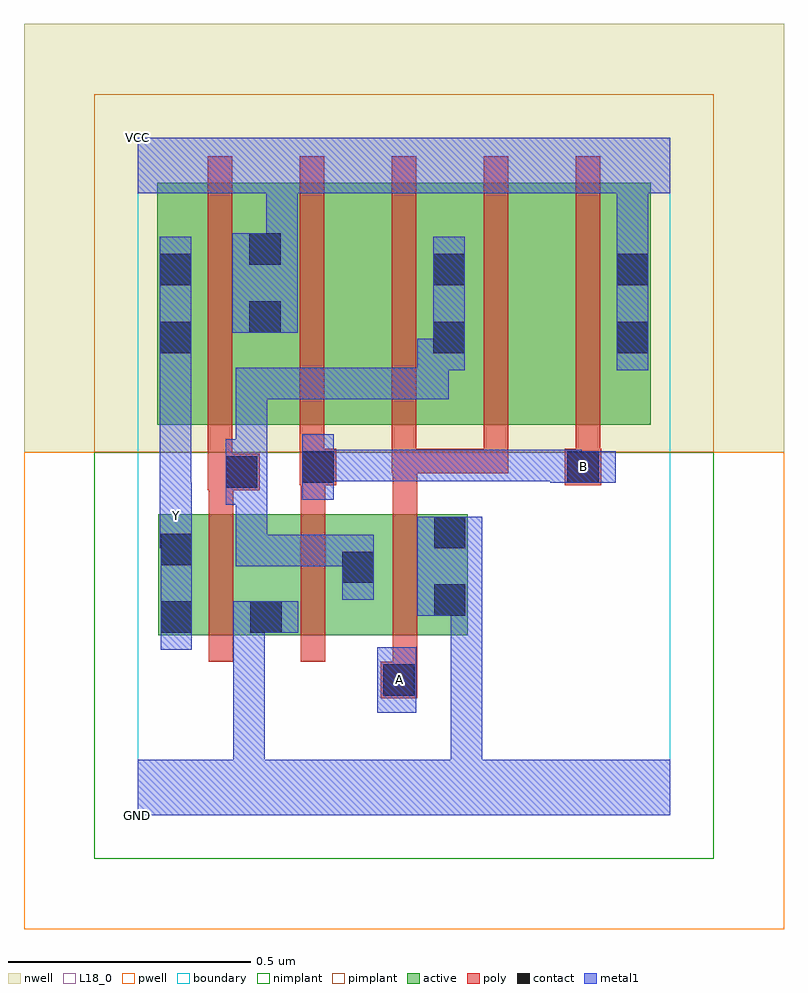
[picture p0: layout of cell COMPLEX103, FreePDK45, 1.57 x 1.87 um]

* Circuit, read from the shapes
.subckt COMPLEX103 A B GND VCC Y
M1 GND n1 Y VSUBS nfet w=0.25u l=0.05u
M2 n1 B GND VSUBS nfet w=0.25u l=0.05u
M3 GND A n1 VSUBS nfet w=0.25u l=0.05u
M4 VCC n1 Y n2 pfet w=0.5u l=0.05u
M5 n3 B VCC n2 pfet w=0.5u l=0.05u
M6 n1 A n3 n2 pfet w=0.5u l=0.05u
M7 n4 A n1 n2 pfet w=0.5u l=0.05u
M8 VCC B n4 n2 pfet w=0.5u l=0.05u
.ends

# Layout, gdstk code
import gdstk
lib = gdstk.Library(unit=1e-6, precision=1e-09)
def R(c, l, rs):  # rectangles x0, y0, x1, y1
    for r in rs: c.add(gdstk.rectangle(r[:2], r[2:], *l))
def A(c, l, x, y, w, h, nx, ny, dx, dy):  # array of equal rectangles
    R(c, l, [(x+i*dx, y+j*dy, x+i*dx+w, y+j*dy+h) for i in range(nx) for j in range(ny)])
active = (1, 0)
pwell = (2, 0)
nwell = (3, 0)
nimplant = (4, 0)
pimplant = (5, 0)
poly = (9, 0)
contact = (10, 0)
metal1 = (11, 0)
L18_0 = (18, 0)
boundary = (235, 0)

complex103 = lib.new_cell('COMPLEX103')
R(complex103, active, [(0.042,0.372,0.117,0.622), (0.042,0.372,0.302,0.622), (0.227,0.372,0.492,0.622), (0.227,0.372,0.302,0.497), (0.417,0.372,0.492,0.622), (0.417,0.372,0.682,0.622), (0.607,0.372,0.682,0.622), (0.04,0.807,0.115,1.2), (0.04,0.807,0.3,1.307), (0.225,0.807,0.3,1.305), (0.225,0.807,0.455,1.307), (0.455,0.807,0.68,1.307), (0.605,0.807,0.835,1.307), (0.605,0.807,0.68,1.2), (0.835,0.807,1.06,1.307), (0.985,0.807,1.06,1.305)])
R(complex103, pwell, [(-0.235,-0.235,1.335,0.75)])
R(complex103, nwell, [(-0.235,0.75,1.335,1.635)])
R(complex103, nimplant, [(-0.09,-0.09,1.19,0.75)])
R(complex103, pimplant, [(-0.09,0.75,1.19,1.49)])
A(complex103, poly, 0.147, 0.317, 0.05, 0.36, 3, 1, 0.19, 0)
A(complex103, poly, 0.335, 0.707, 0.05, 0.095, 4, 1, 0.19, 0)
A(complex103, poly, 0.145, 0.752, 0.05, 0.61, 5, 1, 0.19, 0)
R(complex103, poly, [(0.502,0.242,0.577,0.317), (0.527,0.267,0.577,0.367), (0.147,0.627,0.197,0.722), (0.337,0.627,0.387,0.732), (0.527,0.627,0.577,0.757), (0.145,0.672,0.252,0.747), (0.335,0.682,0.41,0.757), (0.882,0.682,0.957,0.757), (0.145,0.697,0.195,0.802), (0.525,0.707,0.577,0.757), (0.527,0.707,0.765,0.757), (0.715,0.707,0.765,0.757), (0.715,0.707,0.765,0.757), (0.715,0.707,0.765,0.757)])
R(complex103, contact, [(0.507,0.247,0.572,0.312), (0.047,0.377,0.112,0.442), (0.232,0.377,0.297,0.442), (0.612,0.412,0.677,0.477), (0.422,0.48,0.487,0.545), (0.047,0.517,0.112,0.582), (0.612,0.552,0.677,0.617), (0.182,0.677,0.247,0.742), (0.34,0.687,0.405,0.752), (0.887,0.687,0.952,0.752), (0.045,0.955,0.11,1.02), (0.61,0.955,0.675,1.02), (0.99,0.955,1.055,1.02), (0.23,0.997,0.295,1.062), (0.045,1.095,0.11,1.16), (0.61,1.095,0.675,1.16), (0.99,1.095,1.055,1.16), (0.23,1.137,0.295,1.202)])
R(complex103, metal1, [(0,0,1.1,0.115), (0.197,0.05,0.262,0.115), (0.197,0.05,0.262,0.115), (0.197,0.05,0.262,0.442), (0.647,0.05,0.712,0.115), (0.647,0.05,0.712,0.115), (0.647,0.05,0.712,0.115), (0.647,0.05,0.712,0.115), (0.647,0.05,0.712,0.115), (0.647,0.05,0.712,0.115), (0.647,0.05,0.712,0.477), (0.495,0.212,0.575,0.347), (0.047,0.342,0.112,0.617), (0.197,0.377,0.262,0.442), (0.197,0.377,0.262,0.442), (0.197,0.377,0.262,0.442), (0.197,0.377,0.262,0.442), (0.197,0.377,0.332,0.442), (0.577,0.412,0.712,0.617), (0.422,0.445,0.487,0.58), (0.202,0.515,0.267,0.58), (0.202,0.515,0.405,0.58), (0.202,0.515,0.267,0.777), (0.34,0.515,0.405,0.58), (0.34,0.515,0.487,0.58), (0.045,0.552,0.112,0.687), (0.047,0.552,0.112,0.617), (0.045,0.622,0.11,0.985), (0.182,0.642,0.247,0.777), (0.34,0.652,0.405,0.787), (0.852,0.687,0.917,0.752), (0.852,0.687,0.987,0.752), (0.852,0.687,0.917,0.755), (0.34,0.69,0.405,0.755), (0.34,0.69,0.405,0.755), (0.34,0.69,0.542,0.755), (0.477,0.69,0.542,0.755), (0.477,0.69,0.542,0.755), (0.477,0.69,0.542,0.755), (0.477,0.69,0.78,0.755), (0.715,0.69,0.78,0.755), (0.715,0.69,0.917,0.755), (0.182,0.712,0.267,0.777), (0.202,0.712,0.267,0.777), (0.202,0.712,0.267,0.925), (0.202,0.86,0.267,0.925), (0.202,0.86,0.405,0.925), (0.34,0.86,0.405,0.925), (0.34,0.86,0.405,0.925), (0.34,0.86,0.405,0.925), (0.34,0.86,0.642,0.925), (0.577,0.86,0.642,0.985), (0.045,0.92,0.11,1.195), (0.577,0.92,0.675,0.985), (0.61,0.92,0.675,1.195), (0.99,0.92,1.055,1.195), (0.195,0.997,0.33,1.202), (0.99,1.13,1.055,1.35), (0.265,1.137,0.33,1.35), (0,1.285,1.1,1.4)])
R(complex103, L18_0, [(0,0,1.1,0.115), (0.197,0.05,0.262,0.115), (0.197,0.05,0.262,0.115), (0.197,0.05,0.262,0.442), (0.647,0.05,0.712,0.115), (0.647,0.05,0.712,0.115), (0.647,0.05,0.712,0.115), (0.647,0.05,0.712,0.115), (0.647,0.05,0.712,0.115), (0.647,0.05,0.712,0.115), (0.647,0.05,0.712,0.477), (0.495,0.212,0.575,0.347), (0.507,0.247,0.572,0.312), (0.047,0.342,0.112,0.617), (0.197,0.377,0.262,0.442), (0.197,0.377,0.262,0.442), (0.197,0.377,0.262,0.442), (0.197,0.377,0.262,0.442), (0.197,0.377,0.332,0.442), (0.577,0.412,0.712,0.617), (0.045,0.552,0.112,0.687), (0.047,0.552,0.112,0.617), (0.047,0.587,0.112,0.652), (0.045,0.622,0.11,0.985), (0.34,0.652,0.405,0.787), (0.852,0.687,0.917,0.752), (0.852,0.687,0.987,0.752), (0.852,0.687,0.917,0.755), (0.887,0.687,0.952,0.752), (0.34,0.69,0.405,0.755), (0.34,0.69,0.405,0.755), (0.34,0.69,0.542,0.755), (0.477,0.69,0.542,0.755), (0.477,0.69,0.542,0.755), (0.477,0.69,0.542,0.755), (0.477,0.69,0.78,0.755), (0.715,0.69,0.78,0.755), (0.715,0.69,0.917,0.755), (0.045,0.92,0.11,1.195), (0.99,0.92,1.055,1.195), (0.195,0.997,0.33,1.202), (0.99,1.13,1.055,1.35), (0.265,1.137,0.33,1.35), (0,1.285,1.1,1.4)])
R(complex103, boundary, [(0,0,1.1,1.4)])
complex103.add(gdstk.Label('A', (0.54,0.28), layer=11, texttype=0))
complex103.add(gdstk.Label('B', (0.92,0.72), layer=11, texttype=0))
complex103.add(gdstk.Label('Y', (0.08,0.62), layer=11, texttype=0))
complex103.add(gdstk.Label('VCC', (0,1.4), layer=11, texttype=0))
complex103.add(gdstk.Label('GND', (0,0), layer=11, texttype=0))

lib.write_gds('COMPLEX103.gds')
